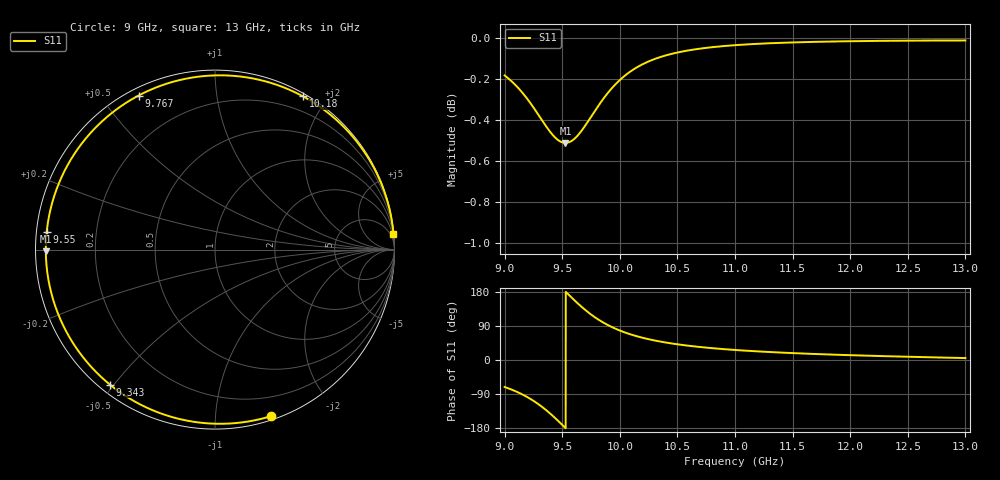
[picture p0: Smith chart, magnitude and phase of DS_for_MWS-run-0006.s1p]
! TOUCHSTONE file generated by CST DESIGN STUDIO
! Date and time: Wed Feb  5 13:33:24 2025
! Project name: C:\Work\MatlabApps\UnitCellOptimizationMatlab\CST\unitcell.cst
! Tree item: Tasks\Sweep1\SPara1\S-Parameters
! Header version: 2024
! Port assignment regex: !\s*Touchstone port\s*([0-9]+)\s*=\s*(CST MWS port|CST DES external port|CST DES block port)\s*(.+)\s* \(\"(.*)\"\)(\s*mode\s*([0-9]+))?.*
! Touchstone port assignment:
! Touchstone port 1 = CST DES external port 1 ("")
# GHz S MA R 50
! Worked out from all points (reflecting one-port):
!   4001 points, 9 GHz to 13 GHz, reference 50 ohm
!   lowest |S11| = -0.5 dB at 9.528 GHz (marker M1), VSWR 33.94, Z = 1.47 - j0.271 ohm
!   phase of S11 starts at -71 deg and turns -284 deg over the sweep
!   S11 on the Smith chart (normalised r, x): 9 GHz: 0.03, -1.39; 9.343 GHz: 0.03, -0.49; 9.55 GHz: 0.03, +0.05; 9.767 GHz: 0.03, +0.62; 10.18 GHz: 0.03, +1.73; 13 GHz: 0, +22
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9  0.979 -71.3
9.095  0.9737 -82.4
9.201  0.9659 -98.5
9.275  0.9594 -112.6
9.343  0.9531 -127.9
9.386  0.9494 -138.8
9.43  0.9461 -150.7
9.5  0.9431 -171.0
9.528  0.9428 -179.4
9.55  0.9429 174.0
9.604  0.9448 158.1
9.664  0.9489 141.4
9.715  0.9533 128.4
9.767  0.9582 116.4
9.816  0.9628 106.3
9.869  0.9673 96.7
9.934  0.9723 86.5
10  0.9765 77.8
10.085  0.9809 68.4
10.178  0.9845 60.2
10.325  0.9886 50.1
10.5  0.9917 41.4
10.721  0.994 33.5
11  0.9958 26.5
11.5  0.9973 18.2
12  0.998 12.7
12.5  0.9983 8.6
13  0.9984 5.1
